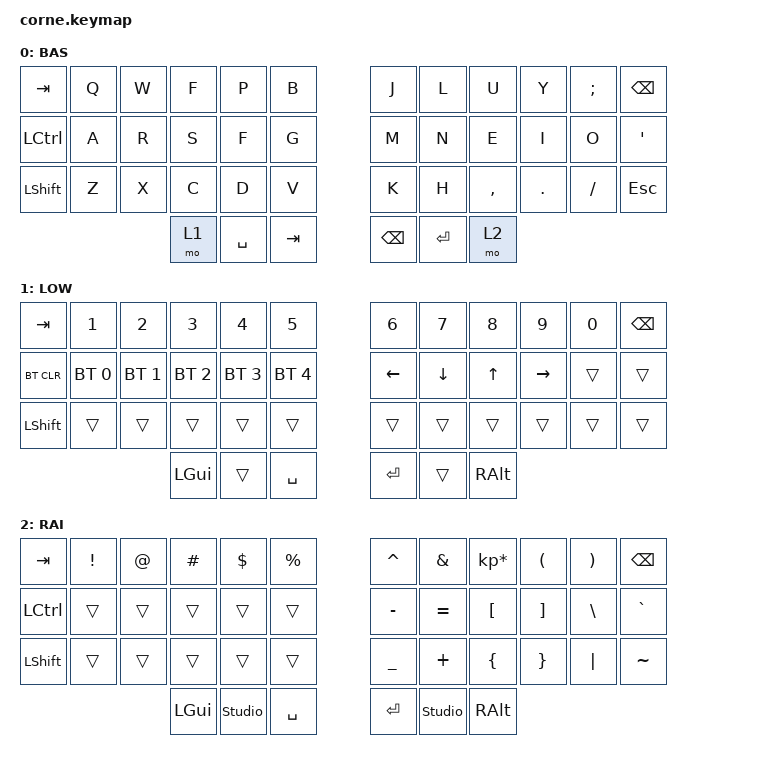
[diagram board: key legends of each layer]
/*
 * Copyright (c) 2020 The ZMK Contributors
 *
 * SPDX-License-Identifier: MIT
 */

#include <behaviors.dtsi>
#include <dt-bindings/zmk/keys.h>
#include <dt-bindings/zmk/bt.h>
#include <dt-bindings/zmk/outputs.h>
#include <dt-bindings/zmk/ext_power.h>
#include <dt-bindings/led/led.h>
#include <dt-bindings/zmk/backlight.h>
#include <dt-bindings/zmk/rgb.h>
#include <dt-bindings/zmk/reset.h>

&led_strip {
    chain-length = <27>;
};

/ {
    keymap {
        compatible = "zmk,keymap";

        default_layer {
            display-name = "BAS";
            // -----------------------------------------------------------------------------------------
            // |  TAB |  Q  |  W  |  F  |  P  |  B  |   |  J   |  L   |  U  |  Y  |  ;  | BKSP |
            // | CTRL |  A  |  R  |  S  |  T  |  G  |   |  M   |  N   |  E  |  I  |  O  |  '   |
            // | SHFT |  Z  |  X  |  C  |  D  |  V  |   |  K   |  H   |  ,  |  .  |  /  | ESC  |
            //                    | LWR | SPC | SPC |   | BKSP | ENT  | RSE |

            bindings = <
&kp TAB    &kp Q  &kp W  &kp F     &kp P  &kp B        &kp J    &kp L  &kp U      &kp Y    &kp SEMI  &kp BSPC
&kp LCTRL  &kp A  &kp R  &kp S     &kp F  &kp G        &kp M    &kp N  &kp E      &kp I    &kp O     &kp SQT
&kp LSHFT  &kp Z  &kp X  &kp C     &kp D  &kp V        &kp K    &kp H  &kp COMMA  &kp DOT  &kp FSLH  &kp ESC
                        &mo 1  &kp SPACE  &kp TAB    &kp BSPC  &kp RET  &mo 2
            >;
        };

        lower_layer {
            display-name = "LOW";
            // -----------------------------------------------------------------------------------------
            // |  TAB |  1  |  2  |  3  |  4  |  5  |   |  6  |  7  |  8  |  9  |  0  | BKSP |
            // | BTCLR| BT1 | BT2 | BT3 | BT4 | BT5 |   | LFT | DWN |  UP | RGT |     |      |
            // | SHFT |     |     |     |     |     |   |     |     |     |     |     |      |
            //                    | GUI |     | SPC |   | ENT |     | ALT |

            bindings = <
&kp TAB     &kp N1        &kp N2        &kp N3        &kp N4        &kp N5          &kp N6    &kp N7    &kp N8    &kp N9     &kp N0  &kp BSPC
&bt BT_CLR  &bt BT_SEL 0  &bt BT_SEL 1  &bt BT_SEL 2  &bt BT_SEL 3  &bt BT_SEL 4    &kp LEFT  &kp DOWN  &kp UP    &kp RIGHT  &trans  &trans
&kp LSHFT   &trans        &trans        &trans        &trans        &trans          &trans    &trans    &trans    &trans     &trans  &trans
                                        &kp LGUI      &trans        &kp SPACE       &kp RET   &trans    &kp RALT
            >;
        };

        raise_layer {
            display-name = "RAI";
            // -----------------------------------------------------------------------------------------
            // |  TAB |  !  |  @  |  #  |  $  |  %  |   |  ^  |  &  |  *  |  (  |  )  | BKSP |
            // | CTRL |     |     |     |     |     |   |  -  |  =  |  [  |  ]  |  \  |  `   |
            // | SHFT |     |     |     |     |     |   |  _  |  +  |  {  |  }  | "|" |  ~   |
            //                    | GUI |     | SPC |   | ENT |     | ALT |

            bindings = <
&kp TAB    &kp EXCL  &kp AT  &kp HASH   &kp DLLR  &kp PRCNT    &kp CARET  &kp AMPS   &kp KP_MULTIPLY  &kp LPAR  &kp RPAR  &kp BSPC
&kp LCTRL  &trans    &trans  &trans  &trans    &trans    &kp MINUS  &kp EQUAL  &kp LBKT         &kp RBKT  &kp BSLH  &kp GRAVE
&kp LSHFT  &trans    &trans  &trans     &trans    &trans       &kp UNDER  &kp PLUS   &kp LBRC         &kp RBRC  &kp PIPE  &kp TILDE
                             &kp LGUI   &studio_unlock    &kp SPACE    &kp RET    &studio_unlock     &kp RALT
            >;
        };
        extra_1 {
            status = "reserved";
        };

        extra_2 {
            status = "reserved";
        };

        extra_3 {
            status = "reserved";
        };
    };
};
